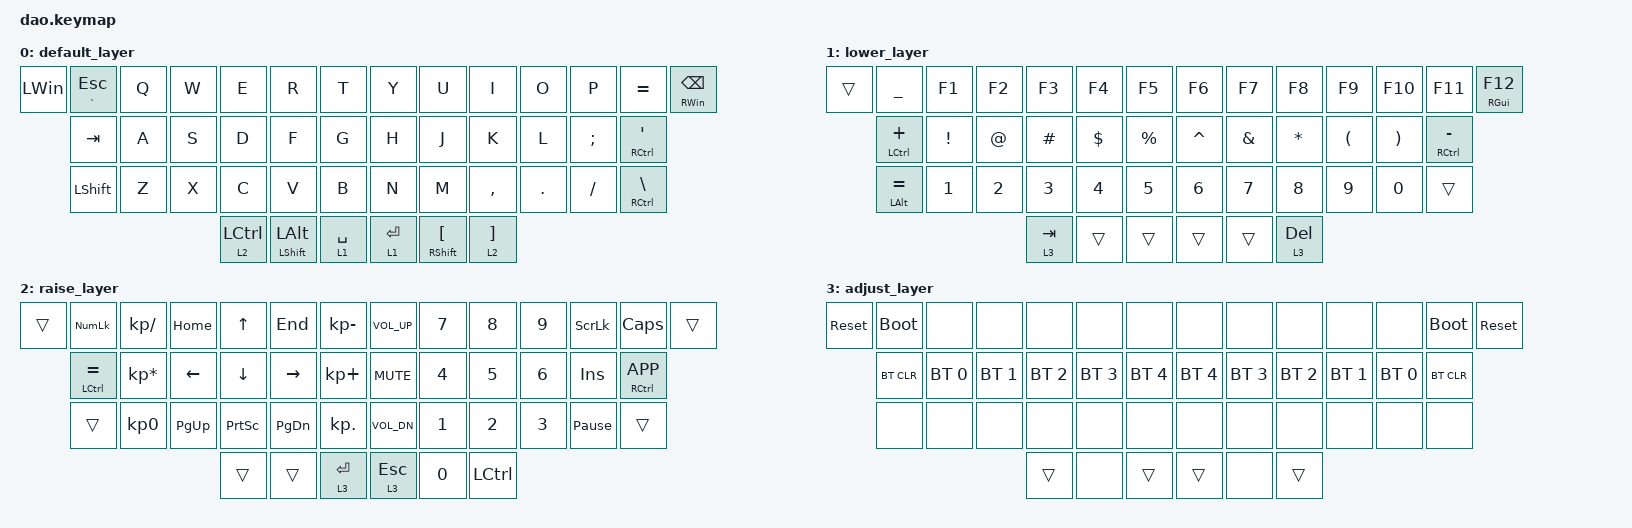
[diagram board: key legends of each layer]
/*
 * Copyright (c) 2021 Rafael Yumagulov
 *
 * SPDX-License-Identifier: MIT
 */

#include <behaviors.dtsi>
#include <dt-bindings/zmk/bt.h>
#include <dt-bindings/zmk/keys.h>

#define DEF 0
#define LWR 1
#define RSE 2
#define ADJ 3

&lt { quick_tap_ms = <200>; };

&mt { quick_tap_ms = <200>; };

/ {
    chosen {
        // zmk,matrix_transform = &default_transform;

        zmk,matrix_transform = &extra_keys_transform;
    };
};

/ {
    keymap {
        compatible = "zmk,keymap";

        default_layer {
            bindings = <
&kp LWIN  &mt GRAVE ESC  &kp Q  &kp W  &kp E        &kp R               &kp T          &kp Y        &kp U           &kp I       &kp O    &kp P     &kp EQUAL       &mt RWIN BACKSPACE
          &kp TAB        &kp A  &kp S  &kp D        &kp F               &kp G          &kp H        &kp J           &kp K       &kp L    &kp SEMI  &mt RCTRL SQT
          &kp LSHIFT     &kp Z  &kp X  &kp C        &kp V               &kp B          &kp N        &kp M           &kp COMMA   &kp DOT  &kp FSLH  &mt RCTRL BSLH
                                       &lt 2 LCTRL  &mt LSHFT LEFT_ALT  &lt 1 SPACE    &lt 1 ENTER  &mt RSHFT LBKT  &lt 2 RBKT
            >;
        };

        lower_layer {
            bindings = <
&trans  &kp UNDER       &kp F1    &kp F2  &kp F3     &kp F4    &kp F5       &kp F6     &kp F7    &kp F8     &kp F9    &kp F10   &kp F11          &mt RGUI F12
        &mt LCTRL PLUS  &kp EXCL  &kp AT  &kp HASH   &kp DLLR  &kp PRCNT    &kp CARET  &kp AMPS  &kp STAR   &kp LPAR  &kp RPAR  &mt RCTRL MINUS
        &mt LALT EQUAL  &kp N1    &kp N2  &kp N3     &kp N4    &kp N5       &kp N6     &kp N7    &kp N8     &kp N9    &kp N0    &trans
                                          &lt 3 TAB  &trans    &trans       &trans     &trans    &lt 3 DEL
            >;
        };

        raise_layer {
            bindings = <
&trans  &kp KP_NUM       &kp KP_SLASH     &kp HOME   &kp UP_ARROW     &kp END    &kp KP_MINUS    &kp C_VOL_UP  &kp N7  &kp N8     &kp N9  &kp SLCK         &kp CAPS         &trans
        &mt LCTRL EQUAL  &kp KP_MULTIPLY  &kp LEFT   &kp DOWN         &kp RIGHT  &kp KP_PLUS     &kp C_MUTE    &kp N4  &kp N5     &kp N6  &kp INS          &mt RCTRL K_APP
        &trans           &kp KP_N0        &kp PG_UP  &kp PRINTSCREEN  &kp PG_DN  &kp KP_DOT      &kp C_VOL_DN  &kp N1  &kp N2     &kp N3  &kp PAUSE_BREAK  &trans
                                                     &trans           &trans     &lt 3 RET       &lt 3 ESC     &kp N0  &kp LCTRL
            >;
        };

        adjust_layer {
            bindings = <
&sys_reset  &bootloader  &none         &none         &none         &none         &none           &none         &none         &none         &none         &none         &bootloader  &sys_reset
            &bt BT_CLR   &bt BT_SEL 0  &bt BT_SEL 1  &bt BT_SEL 2  &bt BT_SEL 3  &bt BT_SEL 4    &bt BT_SEL 4  &bt BT_SEL 3  &bt BT_SEL 2  &bt BT_SEL 1  &bt BT_SEL 0  &bt BT_CLR
            &none        &none         &none         &none         &none         &none           &none         &none         &none         &none         &none         &none
                                                     &trans        &none         &trans          &trans        &none         &trans
            >;
        };
    };
};
